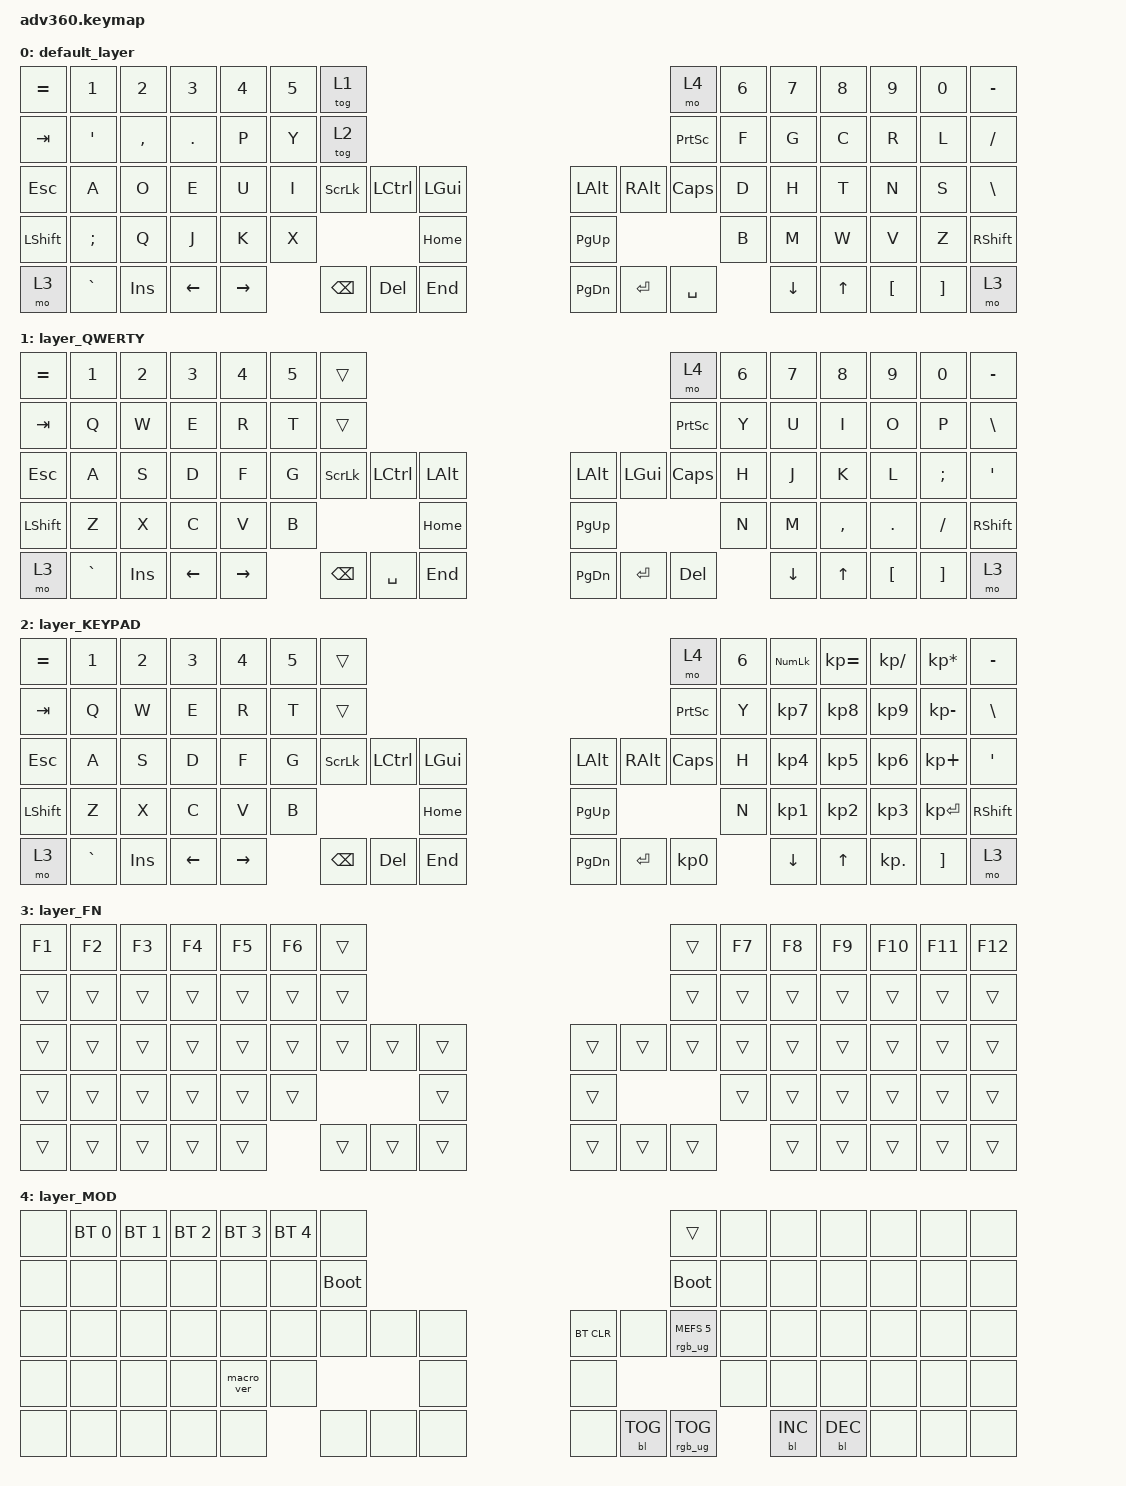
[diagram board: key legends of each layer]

/*
 * Copyright (c) 2020 The ZMK Contributors
 *
 * SPDX-License-Identifier: MIT
 */


/* THIS FILE WAS GENERATED!
 *
 * This file was generated automatically. You may or may not want to
 * edit it directly.
 */

#include <behaviors.dtsi>
#include <dt-bindings/zmk/keys.h>
#include <dt-bindings/zmk/bt.h>
#include <dt-bindings/zmk/rgb.h>
#include <dt-bindings/zmk/backlight.h>

/ {
  behaviors {
    #include "macros.dtsi"
    #include "version.dtsi"

    hm: homerow_mods {
        compatible = "zmk,behavior-hold-tap";
        label = "HOMEROW_MODS";
        #binding-cells = <2>;
        tapping-term-ms = <200>;
        quick_tap_ms = <175>;
        flavor = "tap-preferred";
        bindings = <&kp>, <&kp>;
    };
  };

    keymap {
        compatible = "zmk,keymap";


        default_layer {
            bindings = <
 &kp EQUAL         &kp N1     &kp N2    &kp N3     &kp N4  &kp N5                    &tog 1                                                                 &mo 4  &kp N6          &kp N7        &kp N8    &kp N9    &kp N0      &kp MINUS
   &kp TAB        &kp SQT  &kp COMMA   &kp DOT      &kp P   &kp Y                    &tog 2                                                             &kp PSCRN   &kp F           &kp G         &kp C     &kp R     &kp L      &kp SLASH
   &kp ESC          &kp A      &kp O     &kp E      &kp U   &kp I            &kp SCROLLLOCK  &kp LCTRL  &kp LGUI                   &kp LALT   &kp RALT   &kp CAPS   &kp D           &kp H         &kp T     &kp N     &kp S  &kp BACKSLASH
 &kp LSHFT  &kp SEMICOLON      &kp Q     &kp J      &kp K   &kp X                                       &kp HOME                  &kp PG_UP                         &kp B           &kp M         &kp W     &kp V     &kp Z      &kp RSHFT
     &mo 3      &kp GRAVE    &kp INS  &kp LEFT  &kp RIGHT                          &kp BSPC    &kp DEL   &kp END                  &kp PG_DN  &kp ENTER  &kp SPACE          &kp DOWN_ARROW  &kp UP_ARROW  &kp LBKT  &kp RBKT          &mo 3
            >;
        };

        layer_QWERTY {
            bindings = <
  &kp EQUAL     &kp N1   &kp N2          &kp N3           &kp N4  &kp N5                    &trans                                                                 &mo 4  &kp N6          &kp N7        &kp N8            &kp N9             &kp N0      &kp MINUS
    &kp TAB      &kp Q    &kp W           &kp E            &kp R   &kp T                    &trans                                                             &kp PSCRN   &kp Y           &kp U         &kp I             &kp O              &kp P  &kp BACKSLASH
    &kp ESC      &kp A    &kp S           &kp D            &kp F   &kp G            &kp SCROLLLOCK  &kp LCTRL  &kp LALT                   &kp LALT   &kp LGUI   &kp CAPS   &kp H           &kp J         &kp K             &kp L      &kp SEMICOLON        &kp SQT
 &kp LSHIFT      &kp Z    &kp X           &kp C            &kp V   &kp B                                       &kp HOME                  &kp PG_UP                         &kp N           &kp M     &kp COMMA           &kp DOT          &kp SLASH     &kp RSHIFT
      &mo 3  &kp GRAVE  &kp INS  &kp LEFT_ARROW  &kp RIGHT_ARROW                          &kp BSPC  &kp SPACE   &kp END                  &kp PG_DN  &kp ENTER    &kp DEL          &kp DOWN_ARROW  &kp UP_ARROW  &kp LEFT_BRACKET  &kp RIGHT_BRACKET          &mo 3
            >;
        };

        layer_KEYPAD {
            bindings = <
 &kp EQUAL     &kp N1   &kp N2    &kp N3     &kp N4  &kp N5                    &trans                                                                 &mo 4  &kp N6  &kp KP_NUM  &kp KP_EQUAL  &kp KP_DIVIDE  &kp KP_MULTIPLY  &kp MINUS
   &kp TAB      &kp Q    &kp W     &kp E      &kp R   &kp T                    &trans                                                             &kp PSCRN   &kp Y   &kp KP_N7     &kp KP_N8      &kp KP_N9     &kp KP_MINUS   &kp BSLH
   &kp ESC      &kp A    &kp S     &kp D      &kp F   &kp G            &kp SCROLLLOCK  &kp LCTRL  &kp LGUI                   &kp LALT   &kp RALT   &kp CAPS   &kp H   &kp KP_N4     &kp KP_N5      &kp KP_N6      &kp KP_PLUS    &kp SQT
 &kp LSHFT      &kp Z    &kp X     &kp C      &kp V   &kp B                                       &kp HOME                  &kp PG_UP                         &kp N   &kp KP_N1     &kp KP_N2      &kp KP_N3     &kp KP_ENTER  &kp RSHFT
     &mo 3  &kp GRAVE  &kp INS  &kp LEFT  &kp RIGHT                          &kp BSPC    &kp DEL   &kp END                  &kp PG_DN  &kp ENTER  &kp KP_N0            &kp DOWN        &kp UP     &kp KP_DOT         &kp RBKT      &mo 3
            >;
        };

        layer_FN {
            bindings = <
 &kp F1  &kp F2  &kp F3  &kp F4  &kp F5  &kp F6            &trans                                                  &trans  &kp F7  &kp F8  &kp F9  &kp F10  &kp F11  &kp F12
 &trans  &trans  &trans  &trans  &trans  &trans            &trans                                                  &trans  &trans  &trans  &trans   &trans   &trans   &trans
 &trans  &trans  &trans  &trans  &trans  &trans            &trans  &trans  &trans                  &trans  &trans  &trans  &trans  &trans  &trans   &trans   &trans   &trans
 &trans  &trans  &trans  &trans  &trans  &trans                            &trans                  &trans                  &trans  &trans  &trans   &trans   &trans   &trans
 &trans  &trans  &trans  &trans  &trans                    &trans  &trans  &trans                  &trans  &trans  &trans          &trans  &trans   &trans   &trans   &trans
            >;
        };

        layer_MOD {
            bindings = <
  &none  &bt BT_SEL 0  &bt BT_SEL 1  &bt BT_SEL 2  &bt BT_SEL 3  &bt BT_SEL 4                  &none                                                                          &trans   &none       &none       &none   &none   &none   &none
  &none         &none         &none         &none         &none         &none            &bootloader                                                                     &bootloader   &none       &none       &none   &none   &none   &none
  &none         &none         &none         &none         &none         &none                  &none   &none   &none                  &bt BT_CLR       &none  &rgb_ug RGB_MEFS_CMD 5   &none       &none       &none   &none   &none   &none
  &none         &none         &none         &none    &macro_ver         &none                                  &none                       &none                                       &none       &none       &none   &none   &none   &none
  &none         &none         &none         &none         &none                                &none   &none   &none                       &none  &bl BL_TOG         &rgb_ug RGB_TOG          &bl BL_INC  &bl BL_DEC   &none   &none   &none
            >;
        };

    };
};
